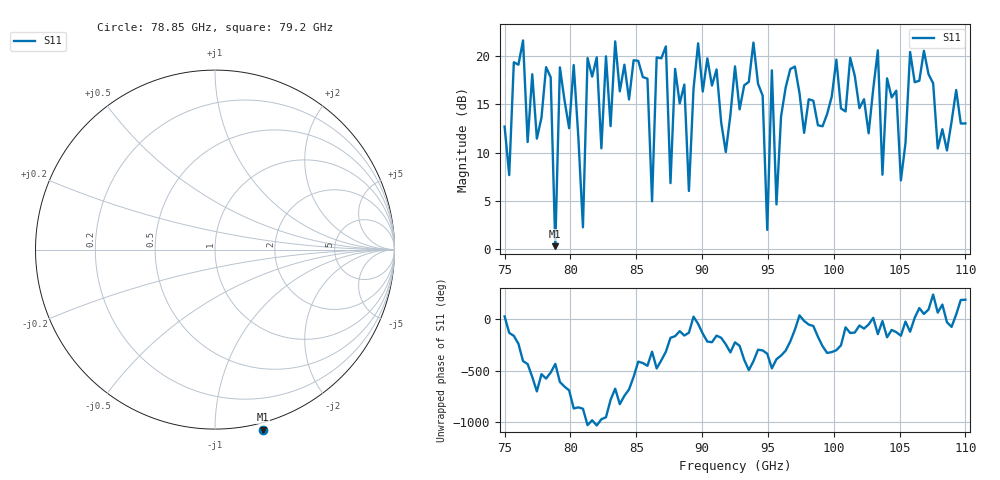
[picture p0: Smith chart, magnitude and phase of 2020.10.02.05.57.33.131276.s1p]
!Created with skrf (http://scikit-rf.org).
# GHz S RI R 50.0
!freq ReS11 ImS11
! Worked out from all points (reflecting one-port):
!   101 points, 75 GHz to 110 GHz, reference 50 ohm
!   lowest |S11| = 0.3 dB at 78.85 GHz (marker M1)
!   phase of S11 starts at 28 deg and turns +163 deg over the sweep
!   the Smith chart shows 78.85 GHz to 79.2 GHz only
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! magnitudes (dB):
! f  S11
! 75 GHz  12.7
! 78.5 GHz  17.8
! 78.85 GHz  0.3
! 79.2 GHz  18.8
! 79.55 GHz  15.4
! 80.25 GHz  19.1
! 80.95 GHz  2.3
! 81.3 GHz  19.8
! 83.75 GHz  16.3
! 85.85 GHz  17.7
! 86.2 GHz  5.0
! 86.55 GHz  19.9
! 87.25 GHz  21.0
! 87.6 GHz  6.8
! 88.3 GHz  15.1
! 89 GHz  6.0
! 89.7 GHz  21.3
! 91.8 GHz  10.1
! 92.5 GHz  18.9
! 93.9 GHz  21.4
! 94.95 GHz  2.0
! 95.3 GHz  18.5
! 95.65 GHz  4.6
! 97.05 GHz  18.9
! 101.2 GHz  19.8
! 105.1 GHz  7.1
! 105.8 GHz  20.4
! 110 GHz  13.0
